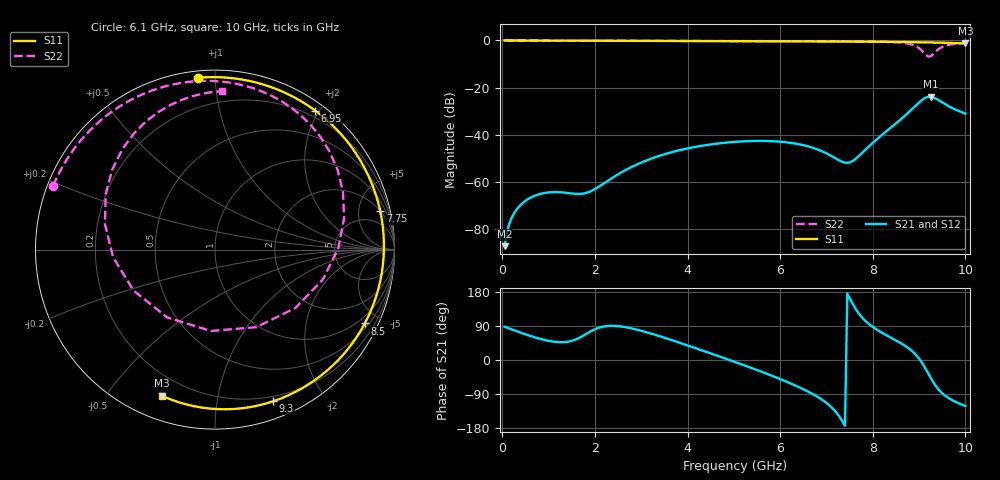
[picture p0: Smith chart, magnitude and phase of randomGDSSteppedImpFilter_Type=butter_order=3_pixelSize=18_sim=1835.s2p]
! freq	dB(S11)	phase(S11)	dB(S12)	phase(S12)
!  dB(S21)	phase(S21)	dB(S22)	phase(S22)
!S-par simulation data
#  GHz  S  DB  R 50
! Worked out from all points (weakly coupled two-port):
!   200 points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, 50 MHz to 10 GHz, reference 50 ohm
!   highest |S21| = -23.87 dB at 9.25 GHz (marker M1); lowest = -87.2 dB at 50 MHz (marker M2)
!   lowest |S11| = -1.2 dB at 10 GHz (marker M3), VSWR 13.97, Z = 5.32 - j34.7 ohm
!   |S11| at or under -10 dB: nowhere
!   |S22| runs from -6.9 to 0.0 dB; largest |S21 - S12| = 0
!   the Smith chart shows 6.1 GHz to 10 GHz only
!   S11 on the Smith chart (normalised r, x): 6.1 GHz: 0.04, +0.91; 6.95 GHz: 0.11, +1.95; 7.75 GHz: 2.05, +8.22; 8.5 GHz: 0.68, -4.19; 9.3 GHz: 0.15, -1.44; 10 GHz: 0.11, -0.69
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0.05  -0.00 -2.5  -87.19 87.9  -87.19 87.9  -0.00 -2.2
0.65  -0.04 -31.8  -66.25 61.7  -66.25 61.7  -0.03 -27.8
1.75  -0.10 -82.7  -64.88 64.3  -64.88 64.3  -0.08 -71.6
2.5  -0.13 -114.8  -56.73 89.4  -56.73 89.4  -0.11 -98.1
3.4  -0.17 -151.1  -48.84 62.7  -48.84 62.7  -0.14 -126.7
4.25  -0.22 175.1  -44.83 28.0  -44.83 28.0  -0.17 -151.2
5.05  -0.27 142.2  -42.94 -6.3  -42.94 -6.3  -0.21 -173.0
6.1  -0.34 95.6  -43.09 -55.3  -43.09 -55.3  -0.27 158.5
6.7  -0.38 66.7  -45.45 -89.6  -45.45 -89.6  -0.32 141.5
6.95  -0.40 54.2  -47.37 -108.7  -47.37 -108.7  -0.34 134.0
7.45  -0.45 28.6  -51.86 175.0  -51.86 175.0  -0.39 117.9
7.75  -0.49 13.1  -48.01 114.9  -48.01 114.9  -0.44 107.1
8.35  -0.59 -18.3  -37.59 61.7  -37.59 61.7  -0.65 79.6
8.5  -0.63 -26.2  -35.18 51.8  -35.18 51.8  -0.79 69.9
8.8  -0.71 -42.1  -30.00 28.5  -30.00 28.5  -1.51 40.5
9  -0.77 -52.7  -26.27 3.7  -26.27 3.7  -3.26 0.7
9.15  -0.82 -60.8  -24.17 -24.8  -24.17 -24.8  -6.20 -61.9
9.25  -0.85 -66.2  -23.87 -46.8  -23.87 -46.8  -6.70 -125.1
9.3  -0.86 -69.0  -24.10 -57.2  -24.10 -57.2  -5.89 -153.3
9.4  -0.90 -74.6  -25.05 -74.7  -25.05 -74.7  -4.01 166.9
9.6  -0.99 -86.0  -27.43 -97.4  -27.43 -97.4  -2.06 124.9
10  -1.25 -110.0  -31.00 -121.3  -31.00 -121.3  -1.07 87.4
